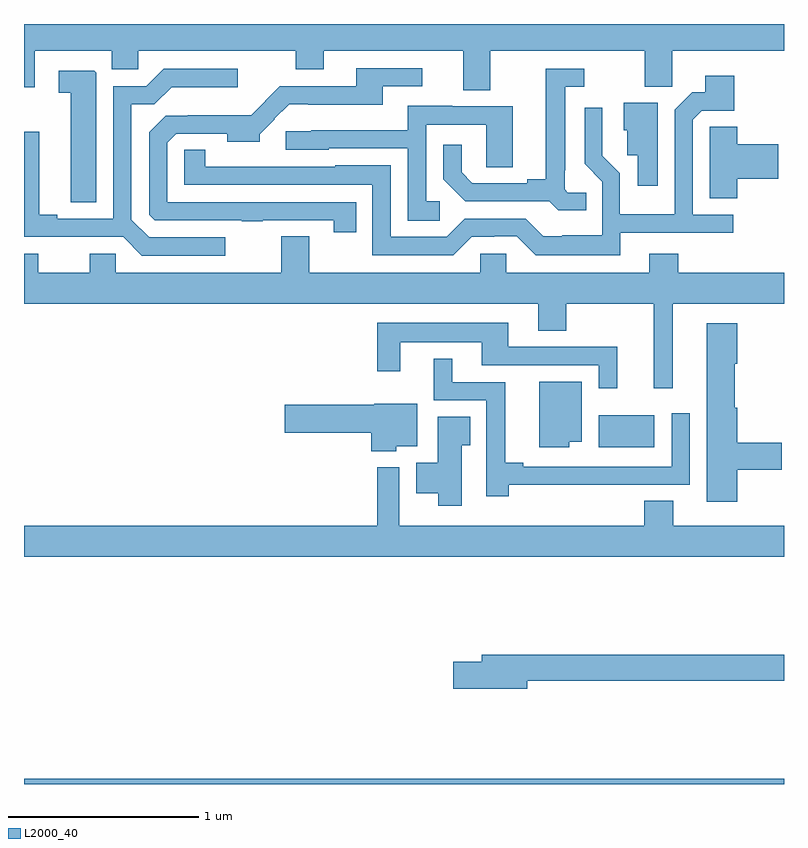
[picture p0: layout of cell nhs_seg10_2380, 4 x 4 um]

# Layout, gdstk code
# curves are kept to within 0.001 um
import gdstk
lib = gdstk.Library(unit=1e-6, precision=1e-09)
def R(c, l, rs):  # rectangles x0, y0, x1, y1
    for r in rs: c.add(gdstk.rectangle(r[:2], r[2:], *l))
def P(c, l, *ps):  # polygons
    for p in ps: c.add(gdstk.Polygon(p, *l))
L2000_40 = (2000, 40)

nhs_seg10_2380 = lib.new_cell('nhs_seg10_2380')
R(nhs_seg10_2380, L2000_40, [(239,1252.5,243,1252.528), (242.024,1254.272,242.317,1254.442)])
P(nhs_seg10_2380, L2000_40, [(241.453,1256.36),(242.266,1256.36),(242.266,1256.171),(242.412,1256.171),(242.412,1256.36),(243,1256.36),(243,1256.5),(239,1256.5),(239,1256.166),(239.056,1256.166),(239.056,1256.36),(239.462,1256.36),(239.462,1256.262),(239.601,1256.262),(239.601,1256.36),(240.43,1256.36),(240.43,1256.261),(240.577,1256.261),(240.577,1256.36),(241.313,1256.36),(241.313,1256.152),(241.453,1256.152)],
  [(240.749,1255.563),(239.754,1255.563),(239.754,1255.875),(239.802,1255.923),(240.071,1255.923),(240.071,1255.88),(240.242,1255.88),(240.242,1255.92),(240.321,1255.998),(240.318,1256.001),(240.395,1256.078),(240.496,1256.078),(240.496,1256.075),(240.889,1256.075),(240.889,1256.172),(241.096,1256.172),(241.096,1256.268),(240.749,1256.268),(240.749,1256.172),(240.345,1256.172),(240.269,1256.095),(240.271,1256.093),(240.197,1256.02),(239.863,1256.02),(239.863,1256.018),(239.747,1256.018),(239.658,1255.929),(239.658,1255.497),(239.688,1255.467),(240.145,1255.467),(240.145,1255.462),(240.257,1255.462),(240.257,1255.467),(240.631,1255.467),(240.631,1255.404),(240.749,1255.404)],
  [(240.058,1255.377),(239.658,1255.377),(239.565,1255.47),(239.565,1256.077),(239.686,1256.077),(239.777,1256.168),(240.124,1256.168),(240.124,1256.265),(239.736,1256.265),(239.643,1256.172),(239.469,1256.172),(239.469,1255.476),(239.176,1255.476),(239.176,1255.496),(239.08,1255.496),(239.08,1255.933),(239,1255.933),(239,1255.38),(239.522,1255.38),(239.621,1255.281),(240.058,1255.281)],
  [(241.958,1255.611),(241.863,1255.611),(241.845,1255.629),(241.845,1255.729),(241.849,1255.729),(241.849,1256.169),(241.948,1256.169),(241.948,1256.265),(241.745,1256.265),(241.745,1255.682),(241.649,1255.682),(241.649,1255.662),(241.36,1255.662),(241.303,1255.719),(241.303,1255.864),(241.206,1255.864),(241.206,1255.682),(241.322,1255.566),(241.764,1255.566),(241.812,1255.519),(241.958,1255.519)],
  [(239.38,1256.243),(239.37,1256.253),(239.184,1256.253),(239.184,1256.137),(239.246,1256.137),(239.246,1255.561),(239.38,1255.561)],
  [(242.137,1255.401),(242.734,1255.401),(242.734,1255.497),(242.52,1255.497),(242.52,1255.995),(242.568,1256.043),(242.738,1256.043),(242.738,1256.227),(242.585,1256.227),(242.585,1256.142),(242.517,1256.142),(242.424,1256.049),(242.424,1255.498),(242.136,1255.498),(242.136,1255.714),(242.044,1255.806),(242.044,1256.059),(241.95,1256.059),(241.95,1255.764),(242.043,1255.671),(242.043,1255.387),(241.834,1255.387),(241.834,1255.383),(241.734,1255.383),(241.641,1255.476),(241.32,1255.476),(241.224,1255.38),(240.93,1255.38),(240.93,1255.756),(240.639,1255.756),(240.639,1255.749),(239.953,1255.75),(239.953,1255.838),(239.844,1255.838),(239.844,1255.653),(240.834,1255.653),(240.834,1255.284),(241.26,1255.284),(241.356,1255.38),(241.476,1255.38),(241.476,1255.383),(241.593,1255.383),(241.693,1255.283),(242.137,1255.283)],
  [(242.335,1256.086),(242.156,1256.086),(242.156,1255.941),(242.175,1255.941),(242.175,1255.809),(242.231,1255.809),(242.231,1255.65),(242.335,1255.65)],
  [(241.189,1255.566),(241.116,1255.566),(241.116,1255.971),(241.434,1255.971),(241.434,1255.747),(241.573,1255.747),(241.573,1256.067),(241.255,1256.067),(241.255,1256.071),(241.019,1256.071),(241.019,1255.942),(240.513,1255.942),(240.513,1255.935),(240.378,1255.935),(240.378,1255.839),(240.603,1255.839),(240.603,1255.845),(241.02,1255.845),(241.02,1255.465),(241.189,1255.465)],
  [(242.753,1255.685),(242.971,1255.685),(242.971,1255.868),(242.753,1255.868),(242.753,1255.958),(242.61,1255.958),(242.61,1255.85),(242.609,1255.85),(242.609,1255.582),(242.753,1255.582)],
  [(242.414,1255.028),(243,1255.028),(243,1255.192),(242.444,1255.192),(242.444,1255.291),(242.291,1255.291),(242.291,1255.192),(241.539,1255.192),(241.539,1255.29),(241.401,1255.29),(241.401,1255.192),(240.501,1255.192),(240.501,1255.382),(240.353,1255.382),(240.353,1255.192),(239.484,1255.192),(239.484,1255.29),(239.345,1255.29),(239.345,1255.192),(239.074,1255.192),(239.074,1255.291),(239,1255.291),(239,1255.028),(241.706,1255.028),(241.706,1254.886),(241.854,1254.886),(241.854,1255.028),(242.315,1255.028),(242.315,1254.582),(242.414,1254.582)],
  [(242.123,1254.801),(241.549,1254.801),(241.549,1254.928),(240.858,1254.928),(240.858,1254.672),(240.979,1254.672),(240.979,1254.824),(241.409,1254.824),(241.409,1254.705),(242.025,1254.705),(242.025,1254.582),(242.123,1254.582)],
  [(242.753,1254.154),(242.989,1254.154),(242.989,1254.296),(242.753,1254.296),(242.753,1254.479),(242.74,1254.479),(242.74,1254.712),(242.753,1254.712),(242.753,1254.925),(242.594,1254.925),(242.594,1253.985),(242.753,1253.985)],
  [(241.55,1254.074),(242.18,1254.074),(242.18,1254.075),(242.505,1254.075),(242.505,1254.451),(242.409,1254.451),(242.409,1254.171),(241.627,1254.171),(241.627,1254.191),(241.532,1254.191),(241.532,1254.615),(241.255,1254.615),(241.255,1254.739),(241.157,1254.739),(241.157,1254.519),(241.434,1254.519),(241.434,1254.015),(241.55,1254.015)],
  [(241.87,1254.302),(241.936,1254.302),(241.936,1254.616),(241.712,1254.616),(241.712,1254.272),(241.87,1254.272)],
  [(240.96,1254.278),(241.069,1254.278),(241.069,1254.502),(240.843,1254.502),(240.843,1254.497),(240.372,1254.497),(240.372,1254.35),(240.827,1254.35),(240.827,1254.251),(240.96,1254.251)],
  [(241.303,1254.283),(241.349,1254.283),(241.349,1254.434),(241.178,1254.434),(241.178,1254.19),(241.064,1254.19),(241.064,1254.029),(241.181,1254.029),(241.181,1253.964),(241.303,1253.964)],
  [(243,1253.86),(242.416,1253.86),(242.416,1253.99),(242.264,1253.99),(242.264,1253.86),(240.975,1253.86),(240.975,1254.166),(240.859,1254.166),(240.859,1253.86),(239,1253.86),(239,1253.696),(243,1253.696)],
  [(241.648,1253.044),(243,1253.044),(243,1253.18),(241.409,1253.18),(241.409,1253.144),(241.26,1253.144),(241.26,1253.002),(241.648,1253.002)])

lib.write_gds('nhs_seg10_2380.gds')
